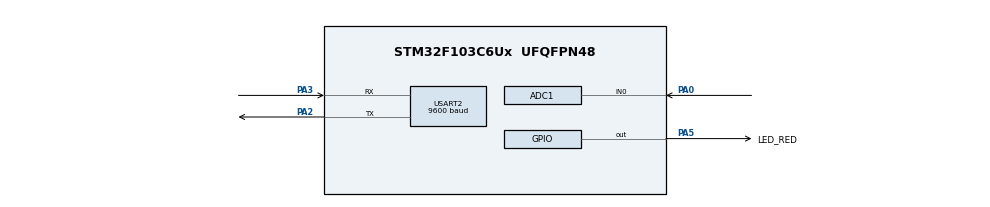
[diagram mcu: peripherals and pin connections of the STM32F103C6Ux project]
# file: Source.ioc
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ADC1.Channel-0\#ChannelRegularConversion=ADC_CHANNEL_0
ADC1.ContinuousConvMode=ENABLE
ADC1.NbrOfConversionFlag=1
ADC1.Rank-0\#ChannelRegularConversion=1
ADC1.SamplingTime-0\#ChannelRegularConversion=ADC_SAMPLETIME_1CYCLE_5
ADC1.master=1
Mcu.Family=STM32F1
Mcu.Name=STM32F103C6Ux
Mcu.Package=UFQFPN48
NVIC.PriorityGroup=NVIC_PRIORITYGROUP_4
NVIC.TIM2_IRQn=true\:0\:0\:false\:false\:true\:true\:true
NVIC.USART2_IRQn=true\:0\:0\:false\:false\:true\:true\:true
PA0-WKUP.Signal=ADCx_IN0
PA2.Mode=Asynchronous
PA2.Signal=USART2_TX
PA3.Mode=Asynchronous
PA3.Signal=USART2_RX
PA5.GPIO_Label=LED_RED
PA5.Signal=GPIO_Output
ProjectManager.HeapSize=0x200
ProjectManager.StackSize=0x400
ProjectManager.TargetToolchain=STM32CubeIDE
RCC.APB1Freq_Value=8000000
RCC.APB2Freq_Value=8000000
SH.ADCx_IN0.0=ADC1_IN0,IN0
TIM2.Period=9
TIM2.Prescaler=7999
USART2.BaudRate=9600
USART2.VirtualMode=VM_ASYNC
VP_SYS_VS_ND.Mode=No_Debug
VP_TIM2_VS_ClockSourceINT.Mode=Internal
board=custom

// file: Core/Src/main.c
/* USER CODE BEGIN Header */
/**
  ******************************************************************************
  * @file           : main.c
  * @brief          : Main program body
  ******************************************************************************
  * @attention
  *
  * <h2><center>&copy; Copyright (c) 2023 STMicroelectronics.
  * All rights reserved.</center></h2>
  *
  * This software component is licensed by ST under BSD 3-Clause license,
  * the "License"; You may not use this file except in compliance with the
  * License. You may obtain a copy of the License at:
  *                        opensource.org/licenses/BSD-3-Clause
  *
  ******************************************************************************
  */
/* USER CODE END Header */
#include "main.h"

/* USER CODE BEGIN Includes */
#include "command_parser_fsm.h"
#include "uart_communication_fsm.h"
/* USER CODE END Includes */

ADC_HandleTypeDef hadc1;

TIM_HandleTypeDef htim2;

UART_HandleTypeDef huart2;

void SystemClock_Config(void);
static void MX_GPIO_Init(void);
static void MX_ADC1_Init(void);
static void MX_USART2_UART_Init(void);
static void MX_TIM2_Init(void);

/* USER CODE BEGIN 0 */
uint8_t temp = 0;
uint8_t index_buffer = 0;
uint8_t buffer_flag = 0;
void HAL_UART_RxCpltCallback( UART_HandleTypeDef *huart ){
	if( huart->Instance == USART2 ) {
		HAL_UART_Transmit(&huart2 ,&temp , 1, 50);
		buffer[index_buffer++] = temp;
		if( index_buffer == 30) index_buffer = 0;
		buffer_flag = 1;
		HAL_UART_Receive_IT(&huart2 ,&temp , 1);
	}
}
/* USER CODE END 0 */

int main(void)
{

  /* MCU Configuration--------------------------------------------------------*/

  /* Reset of all peripherals, Initializes the Flash interface and the Systick. */
  HAL_Init();

  /* Configure the system clock */
  SystemClock_Config();

  /* Initialize all configured peripherals */
  MX_GPIO_Init();
  MX_ADC1_Init();
  MX_USART2_UART_Init();
  MX_TIM2_Init();
  /* USER CODE BEGIN 2 */
  HAL_TIM_Base_Start_IT(&htim2);
  HAL_UART_Receive_IT(&huart2 ,&temp , 1);
  HAL_GPIO_WritePin(LED_RED_GPIO_Port , LED_RED_Pin, SET);
  setTimer(300, 1);
  /* USER CODE END 2 */

  /* Infinite loop */
  /* USER CODE BEGIN WHILE */
  while (1)
  {
	  if(buffer_flag == 1){
		  command_parser_fsm();
		  buffer_flag = 0;
	  }
	  uart_communication_fsm();
    /* USER CODE END WHILE */

  }
}

void SystemClock_Config(void)
{
  RCC_OscInitTypeDef RCC_OscInitStruct = {0};
  RCC_ClkInitTypeDef RCC_ClkInitStruct = {0};
  RCC_PeriphCLKInitTypeDef PeriphClkInit = {0};

  /** Initializes the RCC Oscillators according to the specified parameters
  * in the RCC_OscInitTypeDef structure.
  */
  RCC_OscInitStruct.OscillatorType = RCC_OSCILLATORTYPE_HSI;
  RCC_OscInitStruct.HSIState = RCC_HSI_ON;
  RCC_OscInitStruct.HSICalibrationValue = RCC_HSICALIBRATION_DEFAULT;
  RCC_OscInitStruct.PLL.PLLState = RCC_PLL_NONE;
  if (HAL_RCC_OscConfig(&RCC_OscInitStruct) != HAL_OK)
  {
    Error_Handler();
  }
  /** Initializes the CPU, AHB and APB buses clocks
  */
  RCC_ClkInitStruct.ClockType = RCC_CLOCKTYPE_HCLK|RCC_CLOCKTYPE_SYSCLK
                              |RCC_CLOCKTYPE_PCLK1|RCC_CLOCKTYPE_PCLK2;
  RCC_ClkInitStruct.SYSCLKSource = RCC_SYSCLKSOURCE_HSI;
  RCC_ClkInitStruct.AHBCLKDivider = RCC_SYSCLK_DIV1;
  RCC_ClkInitStruct.APB1CLKDivider = RCC_HCLK_DIV1;
  RCC_ClkInitStruct.APB2CLKDivider = RCC_HCLK_DIV1;

  if (HAL_RCC_ClockConfig(&RCC_ClkInitStruct, FLASH_LATENCY_0) != HAL_OK)
  {
    Error_Handler();
  }
  PeriphClkInit.PeriphClockSelection = RCC_PERIPHCLK_ADC;
  PeriphClkInit.AdcClockSelection = RCC_ADCPCLK2_DIV2;
  if (HAL_RCCEx_PeriphCLKConfig(&PeriphClkInit) != HAL_OK)
  {
    Error_Handler();
  }
}

static void MX_ADC1_Init(void)
{

  ADC_ChannelConfTypeDef sConfig = {0};

  /** Common config
  */
  hadc1.Instance = ADC1;
  hadc1.Init.ScanConvMode = ADC_SCAN_DISABLE;
  hadc1.Init.ContinuousConvMode = ENABLE;
  hadc1.Init.DiscontinuousConvMode = DISABLE;
  hadc1.Init.ExternalTrigConv = ADC_SOFTWARE_START;
  hadc1.Init.DataAlign = ADC_DATAALIGN_RIGHT;
  hadc1.Init.NbrOfConversion = 1;
  if (HAL_ADC_Init(&hadc1) != HAL_OK)
  {
    Error_Handler();
  }
  /** Configure Regular Channel
  */
  sConfig.Channel = ADC_CHANNEL_0;
  sConfig.Rank = ADC_REGULAR_RANK_1;
  sConfig.SamplingTime = ADC_SAMPLETIME_1CYCLE_5;
  if (HAL_ADC_ConfigChannel(&hadc1, &sConfig) != HAL_OK)
  {
    Error_Handler();
  }

}

static void MX_TIM2_Init(void)
{

  TIM_ClockConfigTypeDef sClockSourceConfig = {0};
  TIM_MasterConfigTypeDef sMasterConfig = {0};

  htim2.Instance = TIM2;
  htim2.Init.Prescaler = 7999;
  htim2.Init.CounterMode = TIM_COUNTERMODE_UP;
  htim2.Init.Period = 9;
  htim2.Init.ClockDivision = TIM_CLOCKDIVISION_DIV1;
  htim2.Init.AutoReloadPreload = TIM_AUTORELOAD_PRELOAD_DISABLE;
  if (HAL_TIM_Base_Init(&htim2) != HAL_OK)
  {
    Error_Handler();
  }
  sClockSourceConfig.ClockSource = TIM_CLOCKSOURCE_INTERNAL;
  if (HAL_TIM_ConfigClockSource(&htim2, &sClockSourceConfig) != HAL_OK)
  {
    Error_Handler();
  }
  sMasterConfig.MasterOutputTrigger = TIM_TRGO_RESET;
  sMasterConfig.MasterSlaveMode = TIM_MASTERSLAVEMODE_DISABLE;
  if (HAL_TIMEx_MasterConfigSynchronization(&htim2, &sMasterConfig) != HAL_OK)
  {
    Error_Handler();
  }

}

static void MX_USART2_UART_Init(void)
{

  huart2.Instance = USART2;
  huart2.Init.BaudRate = 9600;
  huart2.Init.WordLength = UART_WORDLENGTH_8B;
  huart2.Init.StopBits = UART_STOPBITS_1;
  huart2.Init.Parity = UART_PARITY_NONE;
  huart2.Init.Mode = UART_MODE_TX_RX;
  huart2.Init.HwFlowCtl = UART_HWCONTROL_NONE;
  huart2.Init.OverSampling = UART_OVERSAMPLING_16;
  if (HAL_UART_Init(&huart2) != HAL_OK)
  {
    Error_Handler();
  }

}

static void MX_GPIO_Init(void)
{
  GPIO_InitTypeDef GPIO_InitStruct = {0};

  /* GPIO Ports Clock Enable */
  __HAL_RCC_GPIOA_CLK_ENABLE();

  /*Configure GPIO pin Output Level */
  HAL_GPIO_WritePin(LED_RED_GPIO_Port, LED_RED_Pin, GPIO_PIN_RESET);

  /*Configure GPIO pin : LED_RED_Pin */
  GPIO_InitStruct.Pin = LED_RED_Pin;
  GPIO_InitStruct.Mode = GPIO_MODE_OUTPUT_PP;
  GPIO_InitStruct.Pull = GPIO_NOPULL;
  GPIO_InitStruct.Speed = GPIO_SPEED_FREQ_LOW;
  HAL_GPIO_Init(LED_RED_GPIO_Port, &GPIO_InitStruct);

}

/* USER CODE BEGIN 4 */
void HAL_TIM_PeriodElapsedCallback(TIM_HandleTypeDef *htim){
	timerRun(0); // led duration
	timerRun(1); // fsm
	timerRun(2); // wait 3s

};
/* USER CODE END 4 */

void Error_Handler(void)
{
  __disable_irq();
  while (1)
  {
  }
}

/************************ (C) COPYRIGHT STMicroelectronics *****END OF FILE****/
